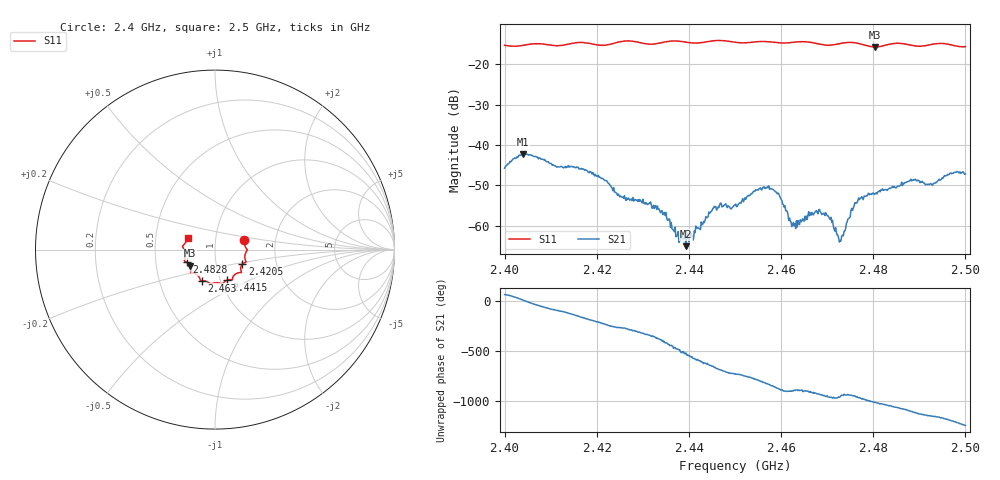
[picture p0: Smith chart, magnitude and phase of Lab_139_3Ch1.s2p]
# Hz S RI R 50
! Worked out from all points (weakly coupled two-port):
!   601 points, 2.4 GHz to 2.5 GHz, reference 50 ohm
!   highest |S21| = -42.24 dB at 2.404 GHz (marker M1); lowest = -65.1 dB at 2.4393 GHz (marker M2)
!   lowest |S11| = -15.7 dB at 2.4803 GHz (marker M3), VSWR 1.39, Z = 37.4 - j6.85 ohm
!   |S11| at or under -10 dB: start of sweep to end of sweep
!   S12 and S22 are empty: the file has one direction only
!   S11 on the Smith chart (normalised r, x): 2.4 GHz: 1.38, +0.15; 2.4205 GHz: 1.34, -0.23; 2.4415 GHz: 1.07, -0.38; 2.463 GHz: 0.82, -0.29; 2.4828 GHz: 0.72, -0.10; 2.5 GHz: 0.73, +0.10
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2.4e9  0.1639 0.0519  0.00212 0.0047  0 0  0 0
2.404e9  0.1716 0.0102  0.0076 0.00138  0 0  0 0
2.416667e9  0.1729 -0.0699  -0.00488 -0.00152  0 0  0 0
2.4205e9  0.152 -0.0817  -0.00332 0.00216  0 0  0 0
2.425333e9  0.1467 -0.1235  1.35e-05 0.00226  0 0  0 0
2.433333e9  0.1001 -0.1515  0.00154 -0.000454  0 0  0 0
2.437667e9  0.0948 -0.1692  -0.000464 -0.000703  0 0  0 0
2.439333e9  0.0861 -0.1673  -0.000526 -0.000179  0 0  0 0
2.4415e9  0.0658 -0.1709  -0.000662 0.000733  0 0  0 0
2.445333e9  0.0423 -0.1911  0.00081 0.00144  0 0  0 0
2.45e9  0.024 -0.1861  0.00172 -0.00049  0 0  0 0
2.4575e9  -0.0285 -0.1875  -0.00147 -0.00239  0 0  0 0
2.4595e9  -0.0424 -0.1797  -0.00238 -0.000724  0 0  0 0
2.463e9  -0.0721 -0.1738  -0.00106 -4.4e-05  0 0  0 0
2.466667e9  -0.0822 -0.167  -0.00137 0.000472  0 0  0 0
2.469833e9  -0.0979 -0.1422  -0.000691 0.0012  0 0  0 0
2.473e9  -0.1265 -0.1299  -0.000391 0.000516  0 0  0 0
2.476333e9  -0.1331 -0.1264  -0.000848 0.00173  0 0  0 0
2.480333e9  -0.1377 -0.0892  0.00118 0.00213  0 0  0 0
2.482833e9  -0.1587 -0.0701  0.00227 0.00162  0 0  0 0
2.483333e9  -0.1626 -0.0682  0.0025 0.0014  0 0  0 0
2.5e9  -0.1526 0.0642  -0.00429 -0.000707  0 0  0 0
